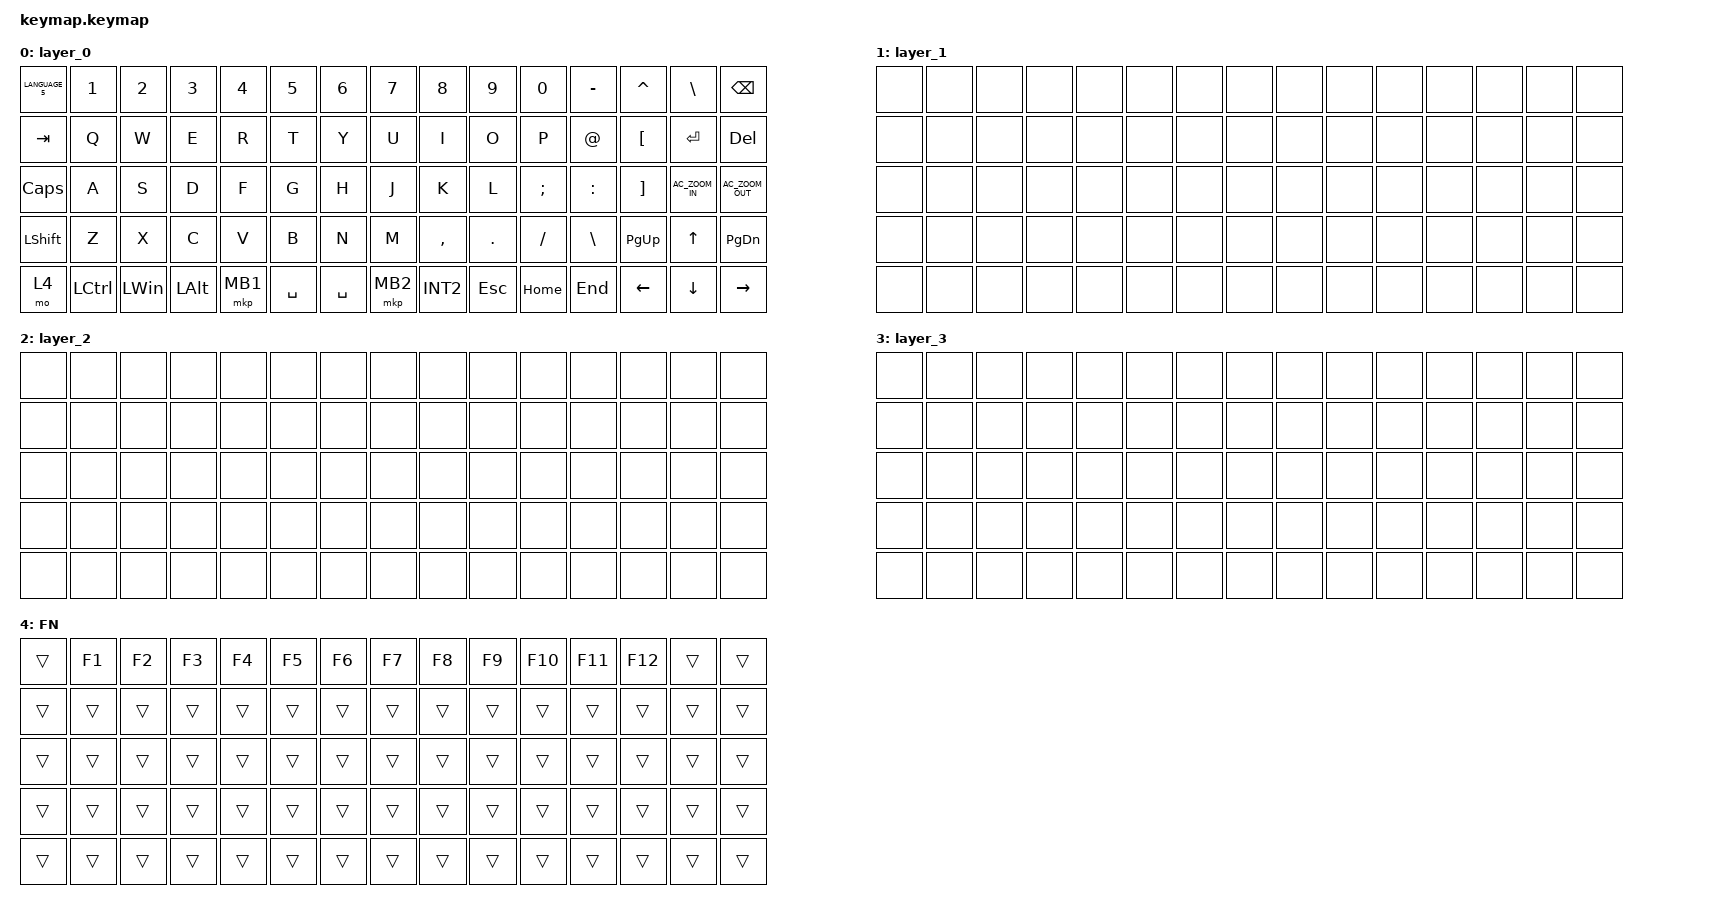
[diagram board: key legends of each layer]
#include <behaviors.dtsi>
#include <dt-bindings/zmk/keys.h>
#include <dt-bindings/zmk/pointing.h>

// OS設定を日本語キーボードのまま使用するための変換定義
#define JP_DQUOTE       AT                // "
#define JP_AMPERSAND    CARET             // &
#define JP_QUOTE        AMPERSAND         // '
#define JP_EQUAL        UNDER             // =
#define JP_CARET        EQUAL             // ^
#define JP_YEN          0x89              // ¥
#define JP_PLUS         COLON             // +
#define JP_TILDE        PLUS              // ~
#define JP_PIPE         LS(0x89)          // |
#define JP_AT           LEFT_BRACKET      // @
#define JP_COLON        SINGLE_QUOTE      // :
#define JP_ASTERISK     DOUBLE_QUOTES     // *
#define JP_BACKQUOTE    LEFT_BRACE        // `
#define JP_UNDERSCORE   LS(0x87)          // _
#define JP_LBRACKET     RIGHT_BRACKET     // [
#define JP_RBRACKET     BACKSLASH         // ]
#define JP_LPAREN       ASTERISK          // (
#define JP_RPAREN       LEFT_PARENTHESIS  // )
#define JP_LBRACE       RIGHT_BRACE       // {
#define JP_RBRACE       PIPE              // }
#define JP_KANA         LANGUAGE_1        // かな
#define JP_EISU         LANGUAGE_2        // 英数
#define JP_HANZEN       GRAVE             // 半角/全角

/ {
    keymap {
        compatible = "zmk,keymap";

        layer_0 {
            bindings = <
&kp LANGUAGE_5  &kp NUMBER_1      &kp NUMBER_2  &kp NUMBER_3  &kp NUMBER_4  &kp NUMBER_5  &kp NUMBER_6  &kp NUMBER_7  &kp NUMBER_8  &kp NUMBER_9  &kp NUMBER_0   &kp MINUS      &kp CARET          &kp BACKSLASH     &kp BACKSPACE
&kp TAB         &kp Q             &kp W         &kp E         &kp R         &kp T         &kp Y         &kp U         &kp I         &kp O         &kp P          &kp AT_SIGN    &kp LEFT_BRACKET   &kp ENTER         &kp DELETE
&kp CAPSLOCK    &kp A             &kp S         &kp D         &kp F         &kp G         &kp H         &kp J         &kp K         &kp L         &kp SEMICOLON  &kp COLON      &kp RIGHT_BRACKET  &kp C_AC_ZOOM_IN  &kp C_AC_ZOOM_OUT
&kp LEFT_SHIFT  &kp Z             &kp X         &kp C         &kp V         &kp B         &kp N         &kp M         &kp COMMA     &kp PERIOD    &kp SLASH      &kp BACKSLASH  &kp PAGE_UP        &kp UP            &kp PAGE_DOWN
&mo 4           &kp LEFT_CONTROL  &kp LEFT_WIN  &kp LEFT_ALT  &mkp MB1      &kp SPACE     &kp SPACE     &mkp MB2      &kp INT2      &kp ESCAPE    &kp HOME       &kp END        &kp LEFT           &kp DOWN          &kp RIGHT
            >;
        };

        layer_1 {
            bindings = <
&none  &none  &none  &none  &none  &none  &none  &none  &none  &none  &none  &none  &none  &none  &none
&none  &none  &none  &none  &none  &none  &none  &none  &none  &none  &none  &none  &none  &none  &none
&none  &none  &none  &none  &none  &none  &none  &none  &none  &none  &none  &none  &none  &none  &none
&none  &none  &none  &none  &none  &none  &none  &none  &none  &none  &none  &none  &none  &none  &none
&none  &none  &none  &none  &none  &none  &none  &none  &none  &none  &none  &none  &none  &none  &none
            >;
        };

        layer_2 {
            bindings = <
&none  &none  &none  &none  &none  &none  &none  &none  &none  &none  &none  &none  &none  &none  &none
&none  &none  &none  &none  &none  &none  &none  &none  &none  &none  &none  &none  &none  &none  &none
&none  &none  &none  &none  &none  &none  &none  &none  &none  &none  &none  &none  &none  &none  &none
&none  &none  &none  &none  &none  &none  &none  &none  &none  &none  &none  &none  &none  &none  &none
&none  &none  &none  &none  &none  &none  &none  &none  &none  &none  &none  &none  &none  &none  &none
            >;
        };

        layer_3 {
            bindings = <
&none  &none  &none  &none  &none  &none  &none  &none  &none  &none  &none  &none  &none  &none  &none
&none  &none  &none  &none  &none  &none  &none  &none  &none  &none  &none  &none  &none  &none  &none
&none  &none  &none  &none  &none  &none  &none  &none  &none  &none  &none  &none  &none  &none  &none
&none  &none  &none  &none  &none  &none  &none  &none  &none  &none  &none  &none  &none  &none  &none
&none  &none  &none  &none  &none  &none  &none  &none  &none  &none  &none  &none  &none  &none  &none
            >;
        };

        FN {
            bindings = <
&trans  &kp F1  &kp F2  &kp F3  &kp F4  &kp F5  &kp F6  &kp F7  &kp F8  &kp F9  &kp F10  &kp F11  &kp F12  &trans  &trans
&trans  &trans  &trans  &trans  &trans  &trans  &trans  &trans  &trans  &trans  &trans   &trans   &trans   &trans  &trans
&trans  &trans  &trans  &trans  &trans  &trans  &trans  &trans  &trans  &trans  &trans   &trans   &trans   &trans  &trans
&trans  &trans  &trans  &trans  &trans  &trans  &trans  &trans  &trans  &trans  &trans   &trans   &trans   &trans  &trans
&trans  &trans  &trans  &trans  &trans  &trans  &trans  &trans  &trans  &trans  &trans   &trans   &trans   &trans  &trans
            >;
        };
    };
};
